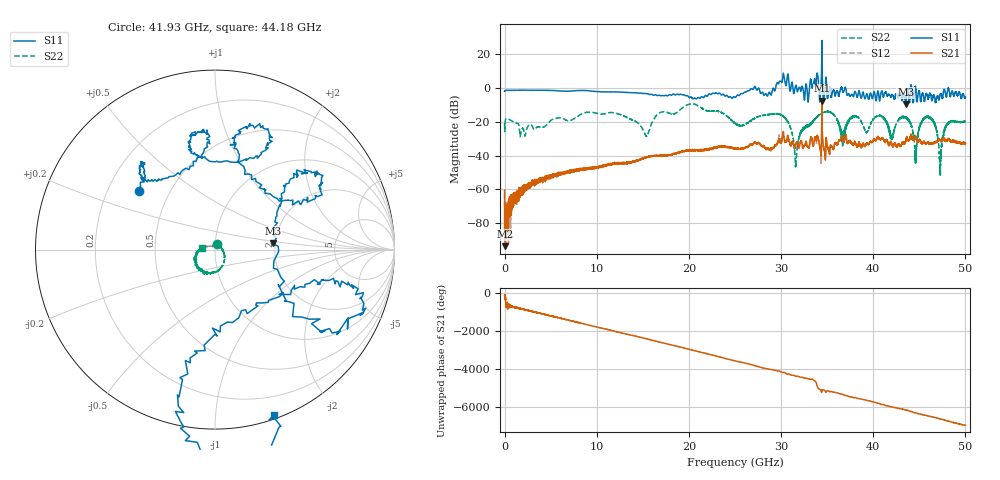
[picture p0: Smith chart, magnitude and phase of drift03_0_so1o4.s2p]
!Created with skrf (http://scikit-rf.org).
# Hz S RI R 50.0
!freq ReS11 ImS11 ReS21 ImS21 ReS12 ImS12 ReS22 ImS22
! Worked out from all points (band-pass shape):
!   10001 points, 300 kHz to 50 GHz, reference 50 ohm
!   highest |S21| = -7.50 dB at 34.44 GHz (marker M1); lowest = -93.5 dB at 90.3 MHz (marker M2)
!   |S21| within 3 dB of the highest: 34.42799 GHz to 34.43744 GHz (9.457 MHz wide, 0.0275 % of centre)
!   lowest |S11| = -9.8 dB at 43.53 GHz (marker M3), VSWR 1.96, Z = 97.2 + j7.4 ohm
!   |S11| at or under -10 dB: nowhere
!   |S22| runs from -52.1 to -9.4 dB; largest |S21 - S12| = 0.11
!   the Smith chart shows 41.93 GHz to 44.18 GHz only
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300000  -0.7716 -0.1616  -0.000687 -0.000672  0.000656 0.000411  -0.0469 -0.0766
9.029946e7  -0.8323 0.1318  2.07e-05 -3.82e-06  1.99e-05 0.000301  0.0945 0.0631
1.525291e9  0.8515 0.0812  5.29e-06 -0.000453  -0.000141 -0.000726  -0.029 0.0786
3.155281e9  -0.853 -0.0211  0.000453 0.00155  0.000573 0.00177  0.0148 -0.0586
4.665272e9  0.8371 0.1478  -0.000164 -0.0022  -0.000307 -0.00236  0.0352 0.0799
6.350262e9  -0.805 -0.0278  0.0012 0.00297  0.00134 0.00283  -0.096 -0.0804
8.33525e9  0.6654 -0.5179  -0.00344 -0.0013  -0.00398 -0.00118  0.1368 -0.0999
9.620242e9  -0.7926 -0.0866  0.00291 0.00331  0.00293 0.0032  -0.1811 -0.0497
1.132523e10  0.7602 0.0254  -0.00458 -0.00317  -0.00436 -0.00318  0.1845 0.0181
1.66702e10  -0.3982 0.448  0.00646 -0.00753  0.00653 -0.00753  0.0876 -0.1484
2.500015e10  -0.1339 -0.511  0.0125 0.00922  0.0131 0.00891  -0.0493 0.0757
2.743014e10  0.8761 -0.0271  -0.00518 0.022  -0.00512 0.0225  -0.0642 -0.1221
2.945012e10  -0.893 0.7327  -0.00512 -0.0191  -0.00215 -0.0203  0.158 0.0706
3.011012e10  0.5346 1.394  -0.0288 0.0116  -0.0272 0.0122  0.1229 -0.0932
3.136011e10  0.0603 -0.6884  0.0214 -0.00109  0.0217 -0.00221  -0.0149 -0.0213
3.33351e10  -0.0442 1.179  -0.0308 0.00795  -0.0285 0.00778  0.0859 -0.0383
3.443509e10  -5.903 -24.6  0.1603 -0.3902  0.0602 -0.3401  0.1012 -0.1559
3.680508e10  0.785 -0.0945  0.0155 0.0206  0.0161 0.0203  0.00476 -0.0364
4.167005e10  -0.6253 0.1632  -0.0207 -0.000957  -0.0209 -0.0012  -0.0446 0.053
4.353004e10  0.3226 0.034  0.0251 -0.0103  0.0256 -0.00942  -0.1094 -0.0877
4.822001e10  -0.8372 -0.25  -0.016 0.0261  -0.0164 0.0267  -0.0958 -0.0261
5e10  0.5089 -0.1602  -0.00327 -0.0226  -0.00237 -0.0235  0.0887 -0.0543
